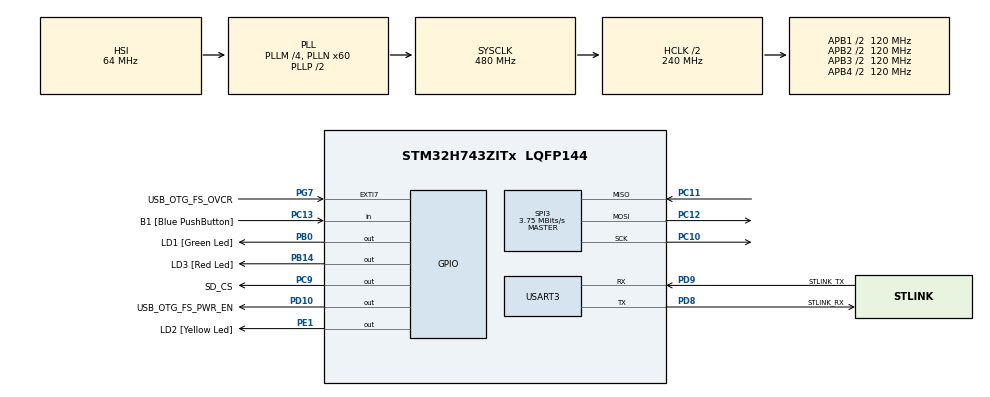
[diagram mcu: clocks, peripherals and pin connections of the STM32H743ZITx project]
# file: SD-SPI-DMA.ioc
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Dma.Request0=SPI3_TX
Dma.SPI3_TX.0.Direction=DMA_MEMORY_TO_PERIPH
Dma.SPI3_TX.0.EventEnable=DISABLE
Dma.SPI3_TX.0.FIFOMode=DMA_FIFOMODE_DISABLE
Dma.SPI3_TX.0.Instance=DMA1_Stream0
Dma.SPI3_TX.0.MemDataAlignment=DMA_MDATAALIGN_BYTE
Dma.SPI3_TX.0.MemInc=DMA_MINC_ENABLE
Dma.SPI3_TX.0.Mode=DMA_NORMAL
Dma.SPI3_TX.0.PeriphDataAlignment=DMA_PDATAALIGN_BYTE
Dma.SPI3_TX.0.PeriphInc=DMA_PINC_DISABLE
Dma.SPI3_TX.0.Polarity=HAL_DMAMUX_REQ_GEN_RISING
Dma.SPI3_TX.0.Priority=DMA_PRIORITY_LOW
Dma.SPI3_TX.0.RequestNumber=1
Dma.SPI3_TX.0.SignalID=NONE
Dma.SPI3_TX.0.SyncEnable=DISABLE
Dma.SPI3_TX.0.SyncPolarity=HAL_DMAMUX_SYNC_NO_EVENT
Dma.SPI3_TX.0.SyncRequestNumber=1
Dma.SPI3_TX.0.SyncSignalID=NONE
Mcu.Family=STM32H7
Mcu.Name=STM32H743ZITx
Mcu.Package=LQFP144
NVIC.DMA1_Stream0_IRQn=true\:0\:0\:false\:false\:true\:false\:true\:true
NVIC.PriorityGroup=NVIC_PRIORITYGROUP_4
NVIC.SPI3_IRQn=true\:0\:0\:false\:false\:true\:false\:true\:true
PA1.Signal=ETH_REF_CLK
PA11.Signal=USB_OTG_FS_DM
PA12.Signal=USB_OTG_FS_DP
PA2.Signal=ETH_MDIO
PA7.Signal=ETH_CRS_DV
PA8.Signal=USB_OTG_FS_SOF
PA9.Signal=USB_OTG_FS_VBUS
PB0.GPIO_Label=LD1 [Green Led]
PB0.Signal=GPIO_Output
PB13.Signal=ETH_TXD1
PB14.GPIO_Label=LD3 [Red Led]
PB14.Signal=GPIO_Output
PC1.Signal=ETH_MDC
PC10.Mode=Full_Duplex_Master
PC10.Signal=SPI3_SCK
PC11.Mode=Full_Duplex_Master
PC11.Signal=SPI3_MISO
PC12.Mode=Full_Duplex_Master
PC12.Signal=SPI3_MOSI
PC13.GPIO_Label=B1 [Blue PushButton]
PC13.Signal=GPIO_Input
PC14-OSC32_IN\ (OSC32_IN).Mode=LSE-External-Oscillator
PC14-OSC32_IN\ (OSC32_IN).Signal=RCC_OSC32_IN
PC15-OSC32_OUT\ (OSC32_OUT).Mode=LSE-External-Oscillator
PC15-OSC32_OUT\ (OSC32_OUT).Signal=RCC_OSC32_OUT
PC4.Signal=ETH_RXD0
PC5.Signal=ETH_RXD1
PC9.GPIO_Label=SD_CS
PC9.Signal=GPIO_Output
PD10.GPIO_Label=USB_OTG_FS_PWR_EN
PD10.Signal=GPIO_Output
PD8.GPIO_Label=STLINK_RX
PD8.Mode=Asynchronous
PD8.Signal=USART3_TX
PD9.GPIO_Label=STLINK_TX
PD9.Mode=Asynchronous
PD9.Signal=USART3_RX
PE1.GPIO_Label=LD2 [Yellow Led]
PE1.Signal=GPIO_Output
PG11.Signal=ETH_TX_EN
PG13.Signal=ETH_TXD0
PG7.GPIO_Label=USB_OTG_FS_OVCR
PG7.Signal=GPXTI7
PH0-OSC_IN\ (PH0).Mode=HSE-External-Clock-Source
PH0-OSC_IN\ (PH0).Signal=RCC_OSC_IN
PH1-OSC_OUT\ (PH1).Signal=RCC_OSC_OUT
ProjectManager.HeapSize=0x200
ProjectManager.StackSize=0x400
ProjectManager.TargetToolchain=STM32CubeIDE
RCC.ADCFreq_Value=129000000
RCC.APB1Freq_Value=120000000
RCC.APB2Freq_Value=120000000
RCC.APB3Freq_Value=120000000
RCC.APB4Freq_Value=120000000
RCC.CortexFreq_Value=480000000
RCC.D1PPRE=RCC_APB3_DIV2
RCC.D2PPRE1=RCC_APB1_DIV2
RCC.D2PPRE2=RCC_APB2_DIV2
RCC.D3PPRE=RCC_APB4_DIV2
RCC.DIVM1=4
RCC.DIVN1=60
RCC.HCLKFreq_Value=240000000
RCC.HPRE=RCC_HCLK_DIV2
RCC.HSE_VALUE=8000000
RCC.PLL2FRACN=0
RCC.PLL3FRACN=0
RCC.PLLFRACN=0
RCC.SYSCLKFreq_VALUE=480000000
RCC.SYSCLKSource=RCC_SYSCLKSOURCE_PLLCLK
RCC.USBFreq_Value=480000000
SPI3.BaudRatePrescaler=SPI_BAUDRATEPRESCALER_128
SPI3.CalculateBaudRate=3.75 MBits/s
SPI3.DataSize=SPI_DATASIZE_8BIT
SPI3.Direction=SPI_DIRECTION_2LINES
SPI3.Mode=SPI_MODE_MASTER
SPI3.VirtualType=VM_MASTER
TIM16.Prescaler=64 - 1
USART3.VirtualMode-Asynchronous=VM_ASYNC
VP_FATFS_VS_Generic.Mode=User_defined
VP_TIM16_VS_ClockSourceINT.Mode=Enable_Timer
board=NUCLEO-H743ZI2

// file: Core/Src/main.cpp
/* USER CODE BEGIN Header */
/**
  ******************************************************************************
  * @file           : main.c
  * @brief          : Main program body
  *
  * Demo writing to SD card over SPI using FatFS and DMA
  * Based on https://01001000.xyz/2020-08-09-Tutorial-STM32CubeIDE-SD-card/
  ******************************************************************************
  * @attention
  *
  * Requires mods to:
  * - diskio, ff_gen_drv and ff (in Middlewares dir)
  * - user_diskio, user_diskio_spi (in FATFS dir)
  *
  * f_write is called from main. The call stack then goes:
  * f_write -> disk_write -> (fnc_ptr in ff_gen_drv) -> user_write -> user_spi_write
  * -> several more calls eventually culminating in HAL_SPI_Transmit which sends the data
  * byte by byte.
  *
  * DMA version replaces this with a multi-byte HAL_SPI_Transmit_DMA call. This is non-blocking, so after
  * invocation the function stack is exited.
  * Multi-block writes must be done block by block, because after each there is some requisite byte
  * exchange necessary on CPU. After initiating each block transfer, it is necessary to callback to
  * perform this exchange and start transfer of the next block and then, once the final block has been transferred,
  * do the final housekeeping.
  *
  * Significant efficiency gains: at 480MHz and SPI baud at max, DMA transfers take just over 1/10 the time of
  * equivalent CPU transfers, and during some of this time the CPU is free (it's not 100% because of CPU-mediated
  * handshakes between blocks, etc.
  ******************************************************************************
  */
/* USER CODE END Header */
#include "main.h"
#include "fatfs.h"

/* USER CODE BEGIN Includes */
#include <stdio.h>
#include <string.h>
#include <stdarg.h> //for va_list var arg functions

/* USER CODE END Includes */

SPI_HandleTypeDef hspi3;
DMA_HandleTypeDef hdma_spi3_tx;
UART_HandleTypeDef huart3;
TIM_HandleTypeDef htim16;

//some variables for FatFs
FATFS FatFs; 	//Fatfs handle
FIL fil; 		//File handle
FRESULT fres; //Result after operations
UINT bytesWrote;

void SystemClock_Config(void);
static void MX_GPIO_Init(void);
static void MX_USART3_UART_Init(void);
static void MX_SPI3_Init(void);
static void MX_TIM16_Init(void);
static void MX_DMA_Init();
/* USER CODE BEGIN PFP */
void myprintf(const char *fmt, ...);
/* USER CODE END PFP */

/* USER CODE BEGIN 0 */
void myprintf(const char *fmt, ...) {
  static char buffer[256];
  va_list args;
  va_start(args, fmt);
  vsnprintf(buffer, sizeof(buffer), fmt, args);
  va_end(args);

  int len = strlen(buffer);
  HAL_UART_Transmit(&huart3, (uint8_t*)buffer, len, -1);
}

// What we need to ultimately write
#pragma pack(push, 1)
struct data_t {
  int16_t imuData[12]; //a0[3], g0[3], a1[3], g1[3]
  uint8_t imuStatus[4]; // a0, g0, a1, g1;
  uint8_t FSR;      // 8bit
  uint8_t time; //reduced from 32. All good as long as interval < 255ms ie >4Hz
  uint8_t prediction;
};
#pragma pack(pop)
// save 2 bytes for count and overrun
const int blockSize = 512; //4096 seems to work, double this fails
const uint16_t dataDim = (blockSize - 2) / sizeof(data_t);
const uint16_t fillDim = blockSize - 2 - dataDim * sizeof(data_t);

// reduced count and overrun to 8bit: means that dataDim must be max 255 (equivalent to data_t ~2-3bytes)
#pragma pack(push, 1)
struct block_t {
  uint8_t count, overrun;
  data_t data[dataDim];
  uint8_t fill[fillDim];
};
#pragma pack(pop)

block_t block;
int n_blocks = 8; //max for a multi block write seems to be 64;
int n_blocks_done = 0;
uint16_t timer_val;
/* USER CODE END 0 */

int main(void)
{

	/* MCU Configuration--------------------------------------------------------*/

	/* Reset of all peripherals, Initializes the Flash interface and the Systick. */
	HAL_Init();

	/* Configure the system clock */
	SystemClock_Config();

	/* Initialize all configured peripherals */
	MX_GPIO_Init();
	MX_DMA_Init();
	MX_USART3_UART_Init();
	MX_SPI3_Init();
	MX_FATFS_Init();
	MX_TIM16_Init();
	/* USER CODE BEGIN 2 */
	myprintf("\r\n~ SD card DMA demo ~\r\n\r\n");
	// Start timer
	HAL_TIM_Base_Start(&htim16);

	HAL_Delay(100); //a short delay is important to let the SD card settle

	//Open the file system
	fres = f_mount(&FatFs, "", 1); //1=mount now
	if (fres != FR_OK) {
		myprintf("f_mount error (%i)\r\n", fres);
	while(1);
	}

	char filename[50] = "newwrite.bin";
	fres = f_open(&fil, filename, FA_WRITE | FA_OPEN_ALWAYS | FA_CREATE_ALWAYS);
	if(fres == FR_OK) {
		myprintf("File opened\r\n");
	}
	else {
		myprintf("f_open error (%i)\r\n", fres);
	}

	//Copy in the data
	int CPU_val = 5;
	block_t blocks[n_blocks];
	block.data[dataDim - 1].imuData[10] = CPU_val;
	blocks[n_blocks - 1] = block;

	/* USER CODE END 2 */

	/* USER CODE BEGIN WHILE */

	HAL_Delay(100); //a short delay is important to let the SD card settle

	/* First, perform a standard write */

	// Test timer
	// Get current time (in tenths of a ms - see timer scaling in init)
	timer_val = __HAL_TIM_GET_COUNTER(&htim16);
	HAL_Delay(50);

	// Get time elapsed
	timer_val = __HAL_TIM_GET_COUNTER(&htim16) - timer_val;
	myprintf("Timer test: %dus (should be 50000)\r\n", timer_val * 100);

	// Warmup - the first write is always slow, so disregard it
	fres = f_write(&fil, &blocks, n_blocks*blockSize, &bytesWrote);

	// Start timer
	timer_val = __HAL_TIM_GET_COUNTER(&htim16);
	fres = f_write(&fil, &blocks, n_blocks*blockSize, &bytesWrote);
	// Stop timer
	timer_val = __HAL_TIM_GET_COUNTER(&htim16) - timer_val;

	myprintf("CPU xfer of %d bytes complete in %dms [%dkb/s]\r\n", bytesWrote, timer_val / 10, bytesWrote*10/timer_val);

	//Change the data for testing
	int DMA_val = 99;
	block.data[dataDim - 1].imuData[10] = DMA_val;
	blocks[n_blocks - 1] = block;

	int k = 0;

    /* USER CODE END WHILE */
	// Start timer
	timer_val = __HAL_TIM_GET_COUNTER(&htim16);

	fres = f_write_dma(&fil, &blocks, n_blocks*blockSize, &bytesWrote);

	// Demonstrate non-blocking; note that blocksize > 512bytes is treated as multiple blocks
	while (n_blocks_done != blockSize / 512 * n_blocks) {
		k++;
	}

	// Stop timer
	timer_val = __HAL_TIM_GET_COUNTER(&htim16) - timer_val;

	myprintf(
		"DMA xfer of %d bytes complete in %dms [%dkb/s]\r\n",
		bytesWrote, timer_val / 10, bytesWrote*10/timer_val
	);

	int j = 0;
	timer_val = __HAL_TIM_GET_COUNTER(&htim16);

	for (int i=0; i<k; i++){
		j++;
	}
	timer_val = __HAL_TIM_GET_COUNTER(&htim16) - timer_val;

	myprintf(
		"%d CPU ops performed in parallel; this corresponds to %dms of free CPU time\r\n",
		k, timer_val / 10
	);

    /* USER CODE BEGIN 3 */
    f_close(&fil);

    myprintf("File closed\r\n");

    // Reopen the file
    fres = f_open(&fil, filename, FA_READ);
    if (fres != FR_OK) {
      myprintf("f_open error (%i)\r\n");
      while(1);
    }
    myprintf("File re-opened for reading\r\n");

    block_t readBlocks[n_blocks * 3]; // read the 2 standard and DMA written blocks
    UINT bytesRead = 0;

    //We can either use f_read OR f_gets to get data out of files
    //f_gets is a wrapper on f_read that does some string formatting for us
    fres = f_read(&fil, &readBlocks, blockSize * n_blocks * 3, &bytesRead);

    if(fres == FR_OK) {
    	myprintf("Read %d bytes\r\n", bytesRead);
    }
    else {
    	myprintf("f_read error\r\n", fres);
    }

    /* Readout the value that we put in earlier- should be n_blocks */
    int DMA_read_val = readBlocks[n_blocks*3-1].data[dataDim - 1].imuData[10];
    int CPU_read_val = readBlocks[n_blocks*2-1].data[dataDim - 1].imuData[10];

    myprintf("CPU read value: %d (should be %d); DMA read value: %d (should be %d)\r\n",
    		CPU_read_val, CPU_val, DMA_read_val, DMA_val);

    f_close(&fil);

    // De-mount the drive
    f_mount(NULL, "", 0);

    myprintf("Done\r\n");

  /* USER CODE END 3 */
}

// Cube-generated setup
void HAL_SPI_TxCpltCallback(SPI_HandleTypeDef* hspi) {

	n_blocks_done ++;

	FRESULT res = f_write_dma_on_block_written();

	if (res != FR_OK) {
		myprintf( "DMA write error\r\n");
	}
}

void MX_DMA_Init() {

  /* DMA controller clock enable */
  __HAL_RCC_DMA1_CLK_ENABLE();

  /* DMA interrupt init */
  HAL_NVIC_SetPriority(DMA1_Stream0_IRQn, 0, 0);
  HAL_NVIC_EnableIRQ(DMA1_Stream0_IRQn);

}

void SystemClock_Config(void)
{
  RCC_OscInitTypeDef RCC_OscInitStruct = {0};
  RCC_ClkInitTypeDef RCC_ClkInitStruct = {0};
  RCC_PeriphCLKInitTypeDef PeriphClkInitStruct = {0};

  /** Supply configuration update enable
  */
  HAL_PWREx_ConfigSupply(PWR_LDO_SUPPLY);
  /** Configure the main internal regulator output voltage
  */
  __HAL_PWR_VOLTAGESCALING_CONFIG(PWR_REGULATOR_VOLTAGE_SCALE0);

  while(!__HAL_PWR_GET_FLAG(PWR_FLAG_VOSRDY)) {}
  /** Initializes the RCC Oscillators according to the specified parameters
  * in the RCC_OscInitTypeDef structure.
  */
  RCC_OscInitStruct.OscillatorType = RCC_OSCILLATORTYPE_HSI;
  RCC_OscInitStruct.HSIState = RCC_HSI_DIV1;
  RCC_OscInitStruct.HSICalibrationValue = RCC_HSICALIBRATION_DEFAULT;
  RCC_OscInitStruct.PLL.PLLState = RCC_PLL_ON;
  RCC_OscInitStruct.PLL.PLLSource = RCC_PLLSOURCE_HSI;
  RCC_OscInitStruct.PLL.PLLM = 4;
  RCC_OscInitStruct.PLL.PLLN = 60;
  RCC_OscInitStruct.PLL.PLLP = 2;
  RCC_OscInitStruct.PLL.PLLQ = 2;
  RCC_OscInitStruct.PLL.PLLR = 2;
  RCC_OscInitStruct.PLL.PLLRGE = RCC_PLL1VCIRANGE_3;
  RCC_OscInitStruct.PLL.PLLVCOSEL = RCC_PLL1VCOWIDE;
  RCC_OscInitStruct.PLL.PLLFRACN = 0;
  if (HAL_RCC_OscConfig(&RCC_OscInitStruct) != HAL_OK)
  {
    Error_Handler();
  }
  /** Initializes the CPU, AHB and APB buses clocks
  */
  RCC_ClkInitStruct.ClockType = RCC_CLOCKTYPE_HCLK|RCC_CLOCKTYPE_SYSCLK
                              |RCC_CLOCKTYPE_PCLK1|RCC_CLOCKTYPE_PCLK2
                              |RCC_CLOCKTYPE_D3PCLK1|RCC_CLOCKTYPE_D1PCLK1;
  RCC_ClkInitStruct.SYSCLKSource = RCC_SYSCLKSOURCE_PLLCLK;
  RCC_ClkInitStruct.SYSCLKDivider = RCC_SYSCLK_DIV1;
  RCC_ClkInitStruct.AHBCLKDivider = RCC_HCLK_DIV2;
  RCC_ClkInitStruct.APB3CLKDivider = RCC_APB3_DIV2;
  RCC_ClkInitStruct.APB1CLKDivider = RCC_APB1_DIV2;
  RCC_ClkInitStruct.APB2CLKDivider = RCC_APB2_DIV2;
  RCC_ClkInitStruct.APB4CLKDivider = RCC_APB4_DIV2;

  if (HAL_RCC_ClockConfig(&RCC_ClkInitStruct, FLASH_LATENCY_4) != HAL_OK)
  {
    Error_Handler();
  }
  PeriphClkInitStruct.PeriphClockSelection = RCC_PERIPHCLK_USART3|RCC_PERIPHCLK_SPI3;
  PeriphClkInitStruct.Spi123ClockSelection = RCC_SPI123CLKSOURCE_PLL;
  PeriphClkInitStruct.Usart234578ClockSelection = RCC_USART234578CLKSOURCE_D2PCLK1;
  if (HAL_RCCEx_PeriphCLKConfig(&PeriphClkInitStruct) != HAL_OK)
  {
    Error_Handler();
  }
}
static void MX_SPI3_Init(void)
{

  /* SPI3 parameter configuration*/
  hspi3.Instance = SPI3;
  hspi3.Init.Mode = SPI_MODE_MASTER;
  hspi3.Init.Direction = SPI_DIRECTION_2LINES;
  hspi3.Init.DataSize = SPI_DATASIZE_8BIT;
  hspi3.Init.CLKPolarity = SPI_POLARITY_LOW;
  hspi3.Init.CLKPhase = SPI_PHASE_1EDGE;
  hspi3.Init.NSS = SPI_NSS_SOFT;
  hspi3.Init.BaudRatePrescaler = SPI_BAUDRATEPRESCALER_32;
  hspi3.Init.FirstBit = SPI_FIRSTBIT_MSB;
  hspi3.Init.TIMode = SPI_TIMODE_DISABLE;
  hspi3.Init.CRCCalculation = SPI_CRCCALCULATION_DISABLE;
  hspi3.Init.CRCPolynomial = 0x0;
  hspi3.Init.NSSPMode = SPI_NSS_PULSE_ENABLE;
  hspi3.Init.NSSPolarity = SPI_NSS_POLARITY_LOW;
  hspi3.Init.FifoThreshold = SPI_FIFO_THRESHOLD_01DATA;
  hspi3.Init.TxCRCInitializationPattern = SPI_CRC_INITIALIZATION_ALL_ZERO_PATTERN;
  hspi3.Init.RxCRCInitializationPattern = SPI_CRC_INITIALIZATION_ALL_ZERO_PATTERN;
  hspi3.Init.MasterSSIdleness = SPI_MASTER_SS_IDLENESS_00CYCLE;
  hspi3.Init.MasterInterDataIdleness = SPI_MASTER_INTERDATA_IDLENESS_00CYCLE;
  hspi3.Init.MasterReceiverAutoSusp = SPI_MASTER_RX_AUTOSUSP_DISABLE;
  hspi3.Init.MasterKeepIOState = SPI_MASTER_KEEP_IO_STATE_DISABLE;
  hspi3.Init.IOSwap = SPI_IO_SWAP_DISABLE;

  if (HAL_SPI_Init(&hspi3) != HAL_OK)
  {
    Error_Handler();
  }

}

static void MX_USART3_UART_Init(void)
{

  huart3.Instance = USART3;
  huart3.Init.BaudRate = 115200;
  huart3.Init.WordLength = UART_WORDLENGTH_8B;
  huart3.Init.StopBits = UART_STOPBITS_1;
  huart3.Init.Parity = UART_PARITY_NONE;
  huart3.Init.Mode = UART_MODE_TX_RX;
  huart3.Init.HwFlowCtl = UART_HWCONTROL_NONE;
  huart3.Init.OverSampling = UART_OVERSAMPLING_16;
  huart3.Init.OneBitSampling = UART_ONE_BIT_SAMPLE_DISABLE;
  huart3.Init.ClockPrescaler = UART_PRESCALER_DIV1;
  huart3.AdvancedInit.AdvFeatureInit = UART_ADVFEATURE_NO_INIT;
  if (HAL_UART_Init(&huart3) != HAL_OK)
  {
    Error_Handler();
  }
  if (HAL_UARTEx_SetTxFifoThreshold(&huart3, UART_TXFIFO_THRESHOLD_1_8) != HAL_OK)
  {
    Error_Handler();
  }
  if (HAL_UARTEx_SetRxFifoThreshold(&huart3, UART_RXFIFO_THRESHOLD_1_8) != HAL_OK)
  {
    Error_Handler();
  }
  if (HAL_UARTEx_DisableFifoMode(&huart3) != HAL_OK)
  {
    Error_Handler();
  }

}

static void MX_GPIO_Init(void)
{
  GPIO_InitTypeDef GPIO_InitStruct = {0};

  /* GPIO Ports Clock Enable */
  __HAL_RCC_GPIOC_CLK_ENABLE();
  __HAL_RCC_GPIOH_CLK_ENABLE();
  __HAL_RCC_GPIOA_CLK_ENABLE();
  __HAL_RCC_GPIOB_CLK_ENABLE();
  __HAL_RCC_GPIOD_CLK_ENABLE();
  __HAL_RCC_GPIOG_CLK_ENABLE();
  __HAL_RCC_GPIOE_CLK_ENABLE();

  /*Configure GPIO pin Output Level */
  HAL_GPIO_WritePin(GPIOB, LD1_Pin|LD3_Pin, GPIO_PIN_RESET);

  /*Configure GPIO pin Output Level */
  HAL_GPIO_WritePin(USB_OTG_FS_PWR_EN_GPIO_Port, USB_OTG_FS_PWR_EN_Pin, GPIO_PIN_RESET);

  /*Configure GPIO pin Output Level */
  HAL_GPIO_WritePin(SD_CS_GPIO_Port, SD_CS_Pin, GPIO_PIN_RESET);

  /*Configure GPIO pin Output Level */
  HAL_GPIO_WritePin(LD2_GPIO_Port, LD2_Pin, GPIO_PIN_RESET);

  /*Configure GPIO pin : B1_Pin */
  GPIO_InitStruct.Pin = B1_Pin;
  GPIO_InitStruct.Mode = GPIO_MODE_INPUT;
  GPIO_InitStruct.Pull = GPIO_NOPULL;
  HAL_GPIO_Init(B1_GPIO_Port, &GPIO_InitStruct);

  /*Configure GPIO pins : PC1 PC4 PC5 */
  GPIO_InitStruct.Pin = GPIO_PIN_1|GPIO_PIN_4|GPIO_PIN_5;
  GPIO_InitStruct.Mode = GPIO_MODE_AF_PP;
  GPIO_InitStruct.Pull = GPIO_NOPULL;
  GPIO_InitStruct.Speed = GPIO_SPEED_FREQ_LOW;
  GPIO_InitStruct.Alternate = GPIO_AF11_ETH;
  HAL_GPIO_Init(GPIOC, &GPIO_InitStruct);

  /*Configure GPIO pins : PA1 PA2 PA7 */
  GPIO_InitStruct.Pin = GPIO_PIN_1|GPIO_PIN_2|GPIO_PIN_7;
  GPIO_InitStruct.Mode = GPIO_MODE_AF_PP;
  GPIO_InitStruct.Pull = GPIO_NOPULL;
  GPIO_InitStruct.Speed = GPIO_SPEED_FREQ_LOW;
  GPIO_InitStruct.Alternate = GPIO_AF11_ETH;
  HAL_GPIO_Init(GPIOA, &GPIO_InitStruct);

  /*Configure GPIO pins : LD1_Pin LD3_Pin */
  GPIO_InitStruct.Pin = LD1_Pin|LD3_Pin;
  GPIO_InitStruct.Mode = GPIO_MODE_OUTPUT_PP;
  GPIO_InitStruct.Pull = GPIO_NOPULL;
  GPIO_InitStruct.Speed = GPIO_SPEED_FREQ_LOW;
  HAL_GPIO_Init(GPIOB, &GPIO_InitStruct);

  /*Configure GPIO pin : PB13 */
  GPIO_InitStruct.Pin = GPIO_PIN_13;
  GPIO_InitStruct.Mode = GPIO_MODE_AF_PP;
  GPIO_InitStruct.Pull = GPIO_NOPULL;
  GPIO_InitStruct.Speed = GPIO_SPEED_FREQ_LOW;
  GPIO_InitStruct.Alternate = GPIO_AF11_ETH;
  HAL_GPIO_Init(GPIOB, &GPIO_InitStruct);

  /*Configure GPIO pin : USB_OTG_FS_PWR_EN_Pin */
  GPIO_InitStruct.Pin = USB_OTG_FS_PWR_EN_Pin;
  GPIO_InitStruct.Mode = GPIO_MODE_OUTPUT_PP;
  GPIO_InitStruct.Pull = GPIO_NOPULL;
  GPIO_InitStruct.Speed = GPIO_SPEED_FREQ_LOW;
  HAL_GPIO_Init(USB_OTG_FS_PWR_EN_GPIO_Port, &GPIO_InitStruct);

  /*Configure GPIO pin : USB_OTG_FS_OVCR_Pin */
  GPIO_InitStruct.Pin = USB_OTG_FS_OVCR_Pin;
  GPIO_InitStruct.Mode = GPIO_MODE_IT_RISING;
  GPIO_InitStruct.Pull = GPIO_NOPULL;
  HAL_GPIO_Init(USB_OTG_FS_OVCR_GPIO_Port, &GPIO_InitStruct);

  /*Configure GPIO pin : SD_CS_Pin */
  GPIO_InitStruct.Pin = SD_CS_Pin;
  GPIO_InitStruct.Mode = GPIO_MODE_OUTPUT_PP;
  GPIO_InitStruct.Pull = GPIO_NOPULL;
  GPIO_InitStruct.Speed = GPIO_SPEED_FREQ_LOW;
  HAL_GPIO_Init(SD_CS_GPIO_Port, &GPIO_InitStruct);

  /*Configure GPIO pins : PA8 PA11 PA12 */
  GPIO_InitStruct.Pin = GPIO_PIN_8|GPIO_PIN_11|GPIO_PIN_12;
  GPIO_InitStruct.Mode = GPIO_MODE_AF_PP;
  GPIO_InitStruct.Pull = GPIO_NOPULL;
  GPIO_InitStruct.Speed = GPIO_SPEED_FREQ_LOW;
  GPIO_InitStruct.Alternate = GPIO_AF10_OTG1_FS;
  HAL_GPIO_Init(GPIOA, &GPIO_InitStruct);

  /*Configure GPIO pins : PG11 PG13 */
  GPIO_InitStruct.Pin = GPIO_PIN_11|GPIO_PIN_13;
  GPIO_InitStruct.Mode = GPIO_MODE_AF_PP;
  GPIO_InitStruct.Pull = GPIO_NOPULL;
  GPIO_InitStruct.Speed = GPIO_SPEED_FREQ_LOW;
  GPIO_InitStruct.Alternate = GPIO_AF11_ETH;
  HAL_GPIO_Init(GPIOG, &GPIO_InitStruct);

  /*Configure GPIO pin : LD2_Pin */
  GPIO_InitStruct.Pin = LD2_Pin;
  GPIO_InitStruct.Mode = GPIO_MODE_OUTPUT_PP;
  GPIO_InitStruct.Pull = GPIO_NOPULL;
  GPIO_InitStruct.Speed = GPIO_SPEED_FREQ_LOW;
  HAL_GPIO_Init(LD2_GPIO_Port, &GPIO_InitStruct);

}

static void MX_TIM16_Init(void)
{

  htim16.Instance = TIM16;
  htim16.Init.Prescaler = 24000 - 1;
  htim16.Init.CounterMode = TIM_COUNTERMODE_UP;
  htim16.Init.Period = 65535;
  htim16.Init.ClockDivision = TIM_CLOCKDIVISION_DIV1;
  htim16.Init.RepetitionCounter = 0;
  htim16.Init.AutoReloadPreload = TIM_AUTORELOAD_PRELOAD_DISABLE;
  if (HAL_TIM_Base_Init(&htim16) != HAL_OK)
  {
    Error_Handler();
  }

}

void Error_Handler(void)
{
}

/************************ (C) COPYRIGHT STMicroelectronics *****END OF FILE****/
